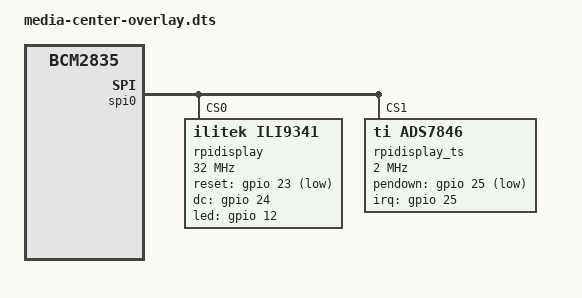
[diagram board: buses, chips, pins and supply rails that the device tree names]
/*
 * Device Tree overlay for Media Center HAT by Pi Supply
 *
 */

/dts-v1/;
/plugin/;

/ {
	compatible = "brcm,bcm2835";

	fragment@0 {
		target = <&spidev0>;
		__overlay__ {
			status = "disabled";
		};
	};

	fragment@1 {
		target = <&spidev1>;
		__overlay__ {
			status = "disabled";
		};
	};

	fragment@2 {
		target = <&gpio>;
		__overlay__ {
			rpi_display_pins: rpi_display_pins {
				brcm,pins = <12 23 24 25>;
				brcm,function = <1 1 1 0>; /* out out out in */
				brcm,pull = <0 0 0 2>; /* - - - up */
			};
		};
	};

	fragment@3 {
		target = <&spi0>;
		__overlay__ {
			/* needed to avoid dtc warning */
			#address-cells = <1>;
			#size-cells = <0>;
			status = "okay";

			rpidisplay: rpi-display@0{
				compatible = "ilitek,ili9341";
				reg = <0>;
				pinctrl-names = "default";
				pinctrl-0 = <&rpi_display_pins>;

				spi-max-frequency = <32000000>;
				rotate = <90>;
				bgr;
				fps = <30>;
				buswidth = <8>;
				reset-gpios = <&gpio 23 1>;
				dc-gpios = <&gpio 24 0>;
				led-gpios = <&gpio 12 0>;
				debug = <0>;
			};

			rpidisplay_ts: rpi-display-ts@1 {
				compatible = "ti,ads7846";
				reg = <1>;

				spi-max-frequency = <2000000>;
				interrupts = <25 2>; /* high-to-low edge triggered */
				interrupt-parent = <&gpio>;
				pendown-gpio = <&gpio 25 1>;
				ti,x-plate-ohms = /bits/ 16 <60>;
				ti,pressure-max = /bits/ 16 <255>;
			};
		};
	};

	__overrides__ {
		speed =     <&rpidisplay>,"spi-max-frequency:0";
		rotate =    <&rpidisplay>,"rotate:0";
		fps =       <&rpidisplay>,"fps:0";
		debug =     <&rpidisplay>,"debug:0";
		xohms =     <&rpidisplay_ts>,"ti,x-plate-ohms;0";
		swapxy =    <&rpidisplay_ts>,"ti,swap-xy?";
		backlight = <&rpidisplay>,"led-gpios:4",
		            <&rpi_display_pins>,"brcm,pins:0";
	};
};
